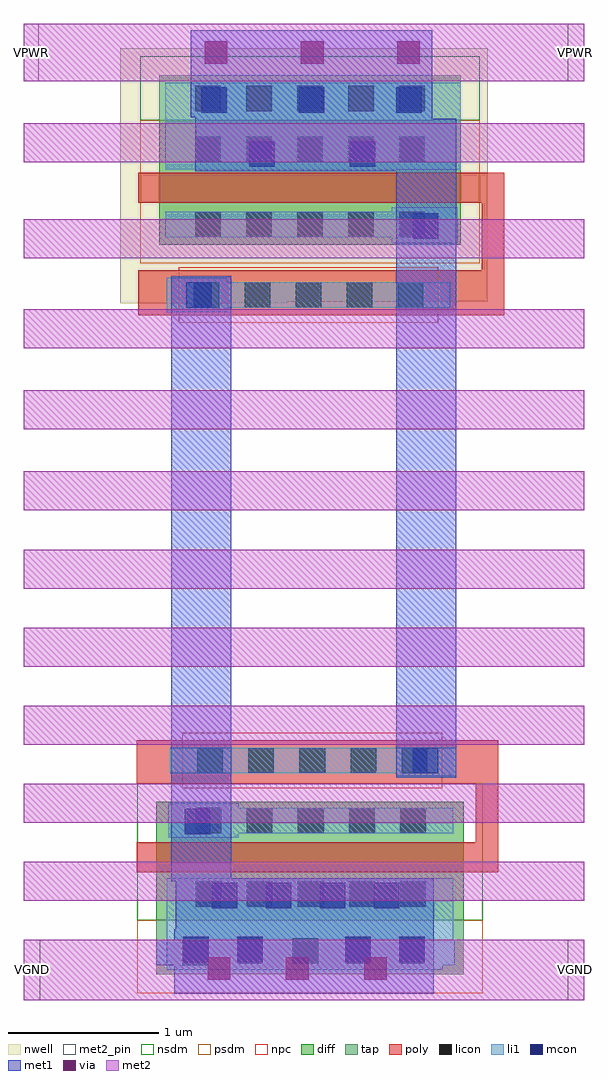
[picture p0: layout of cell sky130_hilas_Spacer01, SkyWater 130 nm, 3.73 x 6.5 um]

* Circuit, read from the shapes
.subckt sky130_hilas_Spacer01 VGND VPWR
XM1 VGND VPWR VGND VGND sky130_fd_pr__nfet_01v8 w=2.05 l=0.2
XM2 VPWR VGND VPWR VPWR sky130_fd_pr__pfet_01v8 w=2.01 l=0.2
.ends

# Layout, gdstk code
import gdstk
lib = gdstk.Library(unit=1e-6, precision=1e-09)
def R(c, l, rs):  # rectangles x0, y0, x1, y1
    for r in rs: c.add(gdstk.rectangle(r[:2], r[2:], *l))
def A(c, l, x, y, w, h, nx, ny, dx, dy):  # array of equal rectangles
    R(c, l, [(x+i*dx, y+j*dy, x+i*dx+w, y+j*dy+h) for i in range(nx) for j in range(ny)])
nwell = (64, 20)
diff = (65, 20)
tap = (65, 44)
poly = (66, 20)
licon = (66, 44)
li1 = (67, 20)
mcon = (67, 44)
met1 = (68, 20)
via = (68, 44)
met2_pin = (69, 16)
met2 = (69, 20)
nsdm = (93, 44)
psdm = (94, 20)
npc = (95, 20)

sky130_hilas_spacer01 = lib.new_cell('sky130_hilas_Spacer01')
R(sky130_hilas_spacer01, nwell, [(3.1,-1.69,4.21,-1.68), (3.1,-1.68,5.55,0.01)])
R(sky130_hilas_spacer01, diff, [(3.34,-5.8,5.39,-5.01), (3.36,-1.3,5.37,-0.47)])
R(sky130_hilas_spacer01, tap, [(3.34,-6.16,5.39,-5.8), (3.36,-0.47,5.37,-0.17)])
R(sky130_hilas_spacer01, poly, [(3.21,-5.48,5.62,-5.28), (5.47,-5.28,5.62,-4.89), (3.21,-4.89,5.62,-4.6), (3.22,-1.77,5.66,-1.47), (5.51,-1.47,5.66,-1.02), (3.22,-1.02,5.66,-0.82)])
A(sky130_hilas_spacer01, licon, 3.605, -5.71, 0.17, 0.17, 5, 2, 0.34, 0.49)
A(sky130_hilas_spacer01, licon, 3.615, -4.82, 0.17, 0.17, 5, 1, 0.34, 0)
A(sky130_hilas_spacer01, licon, 3.59, -1.72, 0.17, 0.17, 5, 1, 0.34, 0)
A(sky130_hilas_spacer01, licon, 3.6, -1.25, 0.17, 0.17, 5, 2, 0.34, 0.5)
A(sky130_hilas_spacer01, licon, 3.6, -0.41, 0.17, 0.17, 5, 1, 0.34, 0)
R(sky130_hilas_spacer01, licon, [(3.515,-6.1,3.685,-5.93), (3.88,-6.09,4.05,-5.92), (4.25,-6.09,4.42,-5.92), (4.6,-6.09,4.77,-5.92), (4.96,-6.09,5.13,-5.92)])
R(sky130_hilas_spacer01, li1, [(3.41,-6.13,5.25,-6.1), (3.41,-6.1,5.33,-5.93), (3.41,-5.93,5.32,-5.52), (3.42,-5.25,3.89,-5.22), (3.42,-5.22,5.32,-5.05), (3.42,-5.05,3.89,-5.02), (4.94,-4.84,5.34,-4.82), (3.43,-4.82,5.34,-4.65), (3.41,-1.75,3.81,-1.72), (3.41,-1.72,5.3,-1.55), (3.41,-1.55,3.81,-1.52), (4.91,-1.29,5.35,-1.25), (3.4,-1.25,5.35,-1.08), (4.91,-1.08,5.35,-1.05), (3.4,-0.8,5.37,-0.22)])
A(sky130_hilas_spacer01, mcon, 3.71, -5.72, 0.17, 0.17, 4, 1, 0.36, 0)
A(sky130_hilas_spacer01, mcon, 3.64, -0.42, 0.17, 0.17, 3, 1, 0.65, 0)
R(sky130_hilas_spacer01, mcon, [(3.52,-6.08,3.69,-5.91), (3.88,-6.08,4.05,-5.91), (4.6,-6.08,4.77,-5.91), (4.96,-6.08,5.13,-5.91), (3.53,-5.225,3.7,-5.055), (5.05,-4.82,5.22,-4.65), (3.54,-1.72,3.71,-1.55), (5.05,-1.26,5.22,-1.09), (3.96,-0.78,4.13,-0.61), (4.63,-0.78,4.8,-0.61)])
R(sky130_hilas_spacer01, met1, [(3.46,-6.29,5.19,-6.1), (3.34,-6.1,5.19,-5.93), (3.46,-5.93,5.19,-5.86), (3.47,-5.86,5.19,-5.54), (3.44,-5.54,5.19,-5.52), (3.44,-5.52,3.84,-1.51), (4.94,-4.85,5.34,-0.81), (3.6,-0.81,5.34,-0.46), (3.6,-0.46,5.18,-0.45), (3.57,-0.45,5.18,0.13)])
A(sky130_hilas_spacer01, via, 3.685, -6.195, 0.15, 0.15, 3, 1, 0.52, 0)
A(sky130_hilas_spacer01, via, 3.665, -0.095, 0.15, 0.15, 3, 1, 0.64, 0)
R(sky130_hilas_spacer01, met2_pin, [(2.46,-6.33,2.57,-5.93), (6.08,-6.33,6.19,-5.93), (2.46,-0.21,2.56,0.17), (6.08,-0.21,6.19,0.17)])
A(sky130_hilas_spacer01, met2, 2.46, -5.67, 3.73, 0.26, 1, 6, 0, 0.52)
R(sky130_hilas_spacer01, met2, [(2.46,-6.33,6.19,-5.93), (2.46,-2.53,6.19,-2.27), (2.46,-1.99,6.19,-1.73), (2.46,-1.39,6.19,-1.13), (2.46,-0.75,6.19,-0.49), (2.46,-0.21,6.19,0.17)])
R(sky130_hilas_spacer01, nsdm, [(3.215,-5.8,5.515,-4.885), (3.235,-0.47,5.495,-0.045)])
R(sky130_hilas_spacer01, psdm, [(3.215,-6.285,5.515,-5.8), (3.235,-1.425,5.495,-0.47)])
R(sky130_hilas_spacer01, npc, [(3.515,-4.92,5.245,-4.55), (3.49,-1.82,5.22,-1.45)])
sky130_hilas_spacer01.add(gdstk.Label('VPWR', (6.135,-0.02), layer=69, texttype=16))
sky130_hilas_spacer01.add(gdstk.Label('VPWR', (2.51,-0.02), layer=69, texttype=16))
sky130_hilas_spacer01.add(gdstk.Label('VGND', (6.135,-6.13), layer=69, texttype=16))
sky130_hilas_spacer01.add(gdstk.Label('VGND', (2.515,-6.13), layer=69, texttype=16))

lib.write_gds('sky130_hilas_Spacer01.gds')
